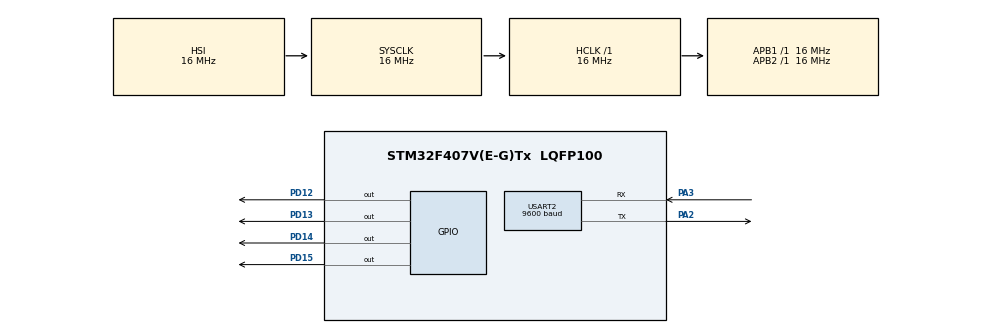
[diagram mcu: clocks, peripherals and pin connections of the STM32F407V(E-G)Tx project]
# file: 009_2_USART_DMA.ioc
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Dma.Request0=USART2_RX
Dma.USART2_RX.0.Direction=DMA_PERIPH_TO_MEMORY
Dma.USART2_RX.0.FIFOMode=DMA_FIFOMODE_DISABLE
Dma.USART2_RX.0.Instance=DMA1_Stream5
Dma.USART2_RX.0.MemDataAlignment=DMA_MDATAALIGN_BYTE
Dma.USART2_RX.0.MemInc=DMA_MINC_ENABLE
Dma.USART2_RX.0.Mode=DMA_NORMAL
Dma.USART2_RX.0.PeriphDataAlignment=DMA_PDATAALIGN_BYTE
Dma.USART2_RX.0.PeriphInc=DMA_PINC_DISABLE
Dma.USART2_RX.0.Priority=DMA_PRIORITY_VERY_HIGH
Mcu.Family=STM32F4
Mcu.Name=STM32F407V(E-G)Tx
Mcu.Package=LQFP100
NVIC.DMA1_Stream5_IRQn=true\:0\:0\:false\:false\:true\:false\:true
NVIC.PriorityGroup=NVIC_PRIORITYGROUP_4
PA2.Mode=Asynchronous
PA2.Signal=USART2_TX
PA3.Mode=Asynchronous
PA3.Signal=USART2_RX
PD12.Signal=GPIO_Output
PD13.Signal=GPIO_Output
PD14.Signal=GPIO_Output
PD15.Signal=GPIO_Output
ProjectManager.HeapSize=0x200
ProjectManager.StackSize=0x400
ProjectManager.TargetToolchain=STM32CubeIDE
RCC.AHBFreq_Value=16000000
RCC.APB1Freq_Value=16000000
RCC.APB2Freq_Value=16000000
RCC.CortexFreq_Value=16000000
RCC.HSE_VALUE=25000000
RCC.HSI_VALUE=16000000
RCC.LSE_VALUE=32768
RCC.SYSCLKFreq_VALUE=16000000
RCC.VCOOutputFreq_Value=192000000
USART2.BaudRate=9600
USART2.VirtualMode=VM_ASYNC
board=custom

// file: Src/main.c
/* USER CODE BEGIN Header */
/**
  ******************************************************************************
  * @file           : main.c
  * @brief          : Main program body
  ******************************************************************************
  * @attention
  *
  * <h2><center>&copy; Copyright (c) 2019 STMicroelectronics.
  * All rights reserved.</center></h2>
  *
  * This software component is licensed by ST under BSD 3-Clause license,
  * the "License"; You may not use this file except in compliance with the
  * License. You may obtain a copy of the License at:
  *                        opensource.org/licenses/BSD-3-Clause
  *
  ******************************************************************************
  */
/* USER CODE END Header */

#include "main.h"

/* USER CODE BEGIN Includes */

#define SIZE 25

#include <stdio.h>	// for printf
#include <string.h>

/* USER CODE END Includes */

/* USER CODE BEGIN PTD */

#ifdef __GNUC__
  /* With GCC, small printf (option LD Linker->Libraries->Small printf
     set to 'Yes') calls __io_putchar() */
  #define PUTCHAR_PROTOTYPE int __io_putchar(int ch)
#else
  #define PUTCHAR_PROTOTYPE int fputc(int ch, FILE *f)
#endif /* __GNUC__ */

/* USER CODE END PTD */

UART_HandleTypeDef huart2;
DMA_HandleTypeDef hdma_usart2_rx;

/* USER CODE BEGIN PV */

char rxBuf[SIZE];

/* USER CODE END PV */

void SystemClock_Config(void);
static void MX_GPIO_Init(void);
static void MX_DMA_Init(void);
static void MX_USART2_UART_Init(void);
/* USER CODE BEGIN PFP */

void application_handling(char *cmd);

/* USER CODE END PFP */

/* USER CODE BEGIN 0 */

//UART state machine
typedef enum
{
	UT_START = 0,
	UT_APP,
}Uart_StateMachine;

Uart_StateMachine myUART_State = UT_START;

/* USER CODE END 0 */

int main(void)
{

  /* MCU Configuration--------------------------------------------------------*/

  /* Reset of all peripherals, Initializes the Flash interface and the Systick. */
  HAL_Init();

  /* Configure the system clock */
  SystemClock_Config();

  /* Initialize all configured peripherals */
  MX_GPIO_Init();
  MX_DMA_Init();
  MX_USART2_UART_Init();
  /* USER CODE BEGIN 2 */

	printf("Starting my application...\r\n");

	//** Fixed size command of 3 bytes *[]#, Initialise
	HAL_UART_Receive_DMA(&huart2, (uint8_t *)rxBuf, 4); //

  /* USER CODE END 2 */

  /* Infinite loop */
  while (1)
  {

  }
}

void SystemClock_Config(void)
{
  RCC_OscInitTypeDef RCC_OscInitStruct = {0};
  RCC_ClkInitTypeDef RCC_ClkInitStruct = {0};

  /** Configure the main internal regulator output voltage
  */
  __HAL_RCC_PWR_CLK_ENABLE();
  __HAL_PWR_VOLTAGESCALING_CONFIG(PWR_REGULATOR_VOLTAGE_SCALE1);
  /** Initializes the CPU, AHB and APB busses clocks
  */
  RCC_OscInitStruct.OscillatorType = RCC_OSCILLATORTYPE_HSI;
  RCC_OscInitStruct.HSIState = RCC_HSI_ON;
  RCC_OscInitStruct.HSICalibrationValue = RCC_HSICALIBRATION_DEFAULT;
  RCC_OscInitStruct.PLL.PLLState = RCC_PLL_NONE;
  if (HAL_RCC_OscConfig(&RCC_OscInitStruct) != HAL_OK)
  {
    Error_Handler();
  }
  /** Initializes the CPU, AHB and APB busses clocks
  */
  RCC_ClkInitStruct.ClockType = RCC_CLOCKTYPE_HCLK|RCC_CLOCKTYPE_SYSCLK
                              |RCC_CLOCKTYPE_PCLK1|RCC_CLOCKTYPE_PCLK2;
  RCC_ClkInitStruct.SYSCLKSource = RCC_SYSCLKSOURCE_HSI;
  RCC_ClkInitStruct.AHBCLKDivider = RCC_SYSCLK_DIV1;
  RCC_ClkInitStruct.APB1CLKDivider = RCC_HCLK_DIV1;
  RCC_ClkInitStruct.APB2CLKDivider = RCC_HCLK_DIV1;

  if (HAL_RCC_ClockConfig(&RCC_ClkInitStruct, FLASH_LATENCY_0) != HAL_OK)
  {
    Error_Handler();
  }
}

static void MX_USART2_UART_Init(void)
{

  huart2.Instance = USART2;
  huart2.Init.BaudRate = 9600;
  huart2.Init.WordLength = UART_WORDLENGTH_8B;
  huart2.Init.StopBits = UART_STOPBITS_1;
  huart2.Init.Parity = UART_PARITY_NONE;
  huart2.Init.Mode = UART_MODE_TX_RX;
  huart2.Init.HwFlowCtl = UART_HWCONTROL_NONE;
  huart2.Init.OverSampling = UART_OVERSAMPLING_16;
  if (HAL_UART_Init(&huart2) != HAL_OK)
  {
    Error_Handler();
  }

}

static void MX_DMA_Init(void)
{

  /* DMA controller clock enable */
  __HAL_RCC_DMA1_CLK_ENABLE();

  /* DMA interrupt init */
  /* DMA1_Stream5_IRQn interrupt configuration */
  HAL_NVIC_SetPriority(DMA1_Stream5_IRQn, 0, 0);
  HAL_NVIC_EnableIRQ(DMA1_Stream5_IRQn);

}

static void MX_GPIO_Init(void)
{
  GPIO_InitTypeDef GPIO_InitStruct = {0};

  /* GPIO Ports Clock Enable */
  __HAL_RCC_GPIOA_CLK_ENABLE();
  __HAL_RCC_GPIOD_CLK_ENABLE();

  /*Configure GPIO pin Output Level */
  HAL_GPIO_WritePin(GPIOD, GPIO_PIN_12|GPIO_PIN_13|GPIO_PIN_14|GPIO_PIN_15, GPIO_PIN_RESET);

  /*Configure GPIO pins : PD12 PD13 PD14 PD15 */
  GPIO_InitStruct.Pin = GPIO_PIN_12|GPIO_PIN_13|GPIO_PIN_14|GPIO_PIN_15;
  GPIO_InitStruct.Mode = GPIO_MODE_OUTPUT_PP;
  GPIO_InitStruct.Pull = GPIO_NOPULL;
  GPIO_InitStruct.Speed = GPIO_SPEED_FREQ_LOW;
  HAL_GPIO_Init(GPIOD, &GPIO_InitStruct);

}

/* USER CODE BEGIN 4 */

PUTCHAR_PROTOTYPE
{
  /* Place your implementation of fputc here */
  /* e.g. write a character to the EVAL_COM1 and Loop until the end of transmission */
  HAL_UART_Transmit(&huart2, (uint8_t *)&ch, 1, 0xFFFF);

  return ch;
}

void HAL_UART_RxCpltCallback(UART_HandleTypeDef *huart)
{
  /* Prevent unused argument(s) compilation warning */
  UNUSED(huart);
  /* NOTE: This function should not be modified, when the callback is needed,
           the HAL_UART_RxCpltCallback could be implemented in the user file
   */

	switch(myUART_State)
	{
		case UT_START:
			if(rxBuf[0] == '*' && rxBuf[2] == '#')
			{
				//Start UART DMA receive based on User specified length (Caviat: always ensure user requested)
				if(rxBuf[1] <= SIZE)
				{
					printf("Send CMD:\r\n");
					HAL_UART_Receive_DMA(&huart2, (uint8_t *)rxBuf, rxBuf[1] + 1);
					myUART_State = UT_APP;
				}
				else
				{
					printf("Invalid size\r\n");
					HAL_UART_Receive_DMA(&huart2, (uint8_t *)rxBuf, 4);
				}
			}
			else
			{
				printf("Invalid command\r\n");
				HAL_UART_Receive_DMA(&huart2, (uint8_t *)rxBuf, 4);
			}
			break;

		case UT_APP:
			application_handling(rxBuf);
			memset(rxBuf, sizeof(rxBuf), 0);
			//Get back to state 1
			HAL_UART_Receive_DMA(&huart2, (uint8_t *)rxBuf, 4);
			myUART_State = UT_START;
			break;
	}

	// * 1 #
//	//Check the command msg
//	if(rxBuf[0] == '*' && rxBuf[2] == '#')  //A valid command
//	{
//		//If commmand is = 0, Turn LED OFF
//		if(rxBuf[1] == 0)
//		{
//			HAL_GPIO_WritePin(GPIOD, GPIO_PIN_12|GPIO_PIN_13|GPIO_PIN_14|GPIO_PIN_15, GPIO_PIN_RESET);
//			printf("LED Turned OFF\r\n");
//		}
//		//If commmand is = 1, Turn LED ON
//		else if(rxBuf[1] == 1)
//		{
//			HAL_GPIO_WritePin(GPIOD, GPIO_PIN_12|GPIO_PIN_13|GPIO_PIN_14|GPIO_PIN_15, GPIO_PIN_SET);
//			printf("LED Turned ON\r\n");
//		}
//		else
//		{
//			printf("Invalid Command!\r\n");
//		}
//	}

//	HAL_UART_Receive_DMA(&huart2, (uint8_t *)rxBuf, 3);
}

//UART Application handling function
void application_handling(char *cmd)
{
	if(strstr(cmd, "LED ON") != NULL)
	{
		//Turn LED ON
		HAL_GPIO_WritePin(GPIOD, GPIO_PIN_12|GPIO_PIN_13|GPIO_PIN_14|GPIO_PIN_15, GPIO_PIN_SET);
		printf("LED Turned ON\r\n");
	}
	else if(strstr(cmd, "LED OFF") != NULL)
	{
		//Turn LED OFF
		HAL_GPIO_WritePin(GPIOD, GPIO_PIN_12|GPIO_PIN_13|GPIO_PIN_14|GPIO_PIN_15, GPIO_PIN_RESET);
		printf("LED Turned OFF\r\n");
	}
	else
	{
		//Invalid command
		printf("Invalid Command!\r\n");
	}
}

/* USER CODE END 4 */

void Error_Handler(void)
{
}

/************************ (C) COPYRIGHT STMicroelectronics *****END OF FILE****/
